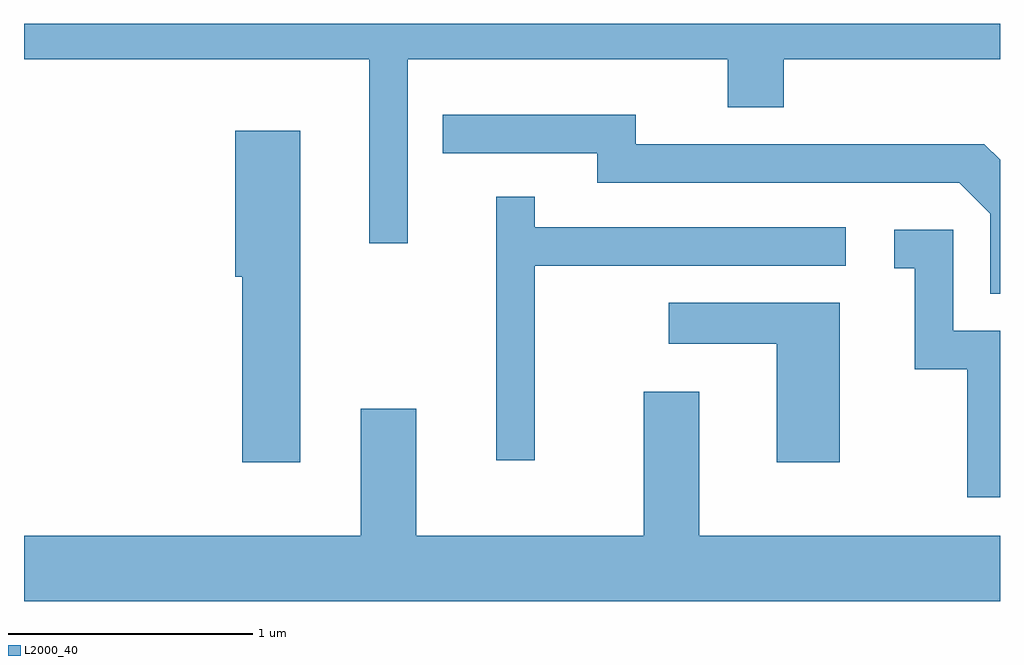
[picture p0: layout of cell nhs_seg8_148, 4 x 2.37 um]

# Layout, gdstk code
import gdstk
lib = gdstk.Library(unit=1e-6, precision=1e-09)
def P(c, l, *ps):  # polygons
    for p in ps: c.add(gdstk.Polygon(p, *l))
L2000_40 = (2000, 40)

nhs_seg8_148 = lib.new_cell('nhs_seg8_148')
P(nhs_seg8_148, L2000_40, [(191.184,1834.196),(192.496,1834.196),(192.496,1834.001),(192.724,1834.001),(192.724,1834.196),(193.611,1834.196),(193.611,1834.342),(189.611,1834.342),(189.611,1834.196),(191.026,1834.196),(191.026,1833.443),(191.184,1833.443)],
  [(193.611,1833.785),(193.547,1833.849),(192.119,1833.849),(192.119,1833.969),(191.328,1833.969),(191.328,1833.811),(191.961,1833.811),(191.961,1833.691),(193.444,1833.691),(193.571,1833.564),(193.571,1833.236),(193.611,1833.236)],
  [(190.744,1833.904),(190.476,1833.904),(190.476,1833.306),(190.506,1833.306),(190.506,1832.546),(190.744,1832.546)],
  [(191.704,1833.351),(192.978,1833.351),(192.978,1833.509),(191.704,1833.509),(191.704,1833.633),(191.546,1833.633),(191.546,1832.553),(191.704,1832.553)],
  [(193.611,1833.084),(193.419,1833.084),(193.419,1833.499),(193.178,1833.499),(193.178,1833.341),(193.261,1833.341),(193.261,1832.926),(193.476,1832.926),(193.476,1832.401),(193.611,1832.401)],
  [(192.954,1833.199),(192.253,1833.199),(192.253,1833.031),(192.696,1833.031),(192.696,1832.546),(192.954,1832.546)],
  [(193.611,1832.244),(192.379,1832.244),(192.379,1832.834),(192.151,1832.834),(192.151,1832.244),(191.219,1832.244),(191.219,1832.764),(190.991,1832.764),(190.991,1832.244),(189.611,1832.244),(189.611,1831.976),(193.611,1831.976)])

lib.write_gds('nhs_seg8_148.gds')
